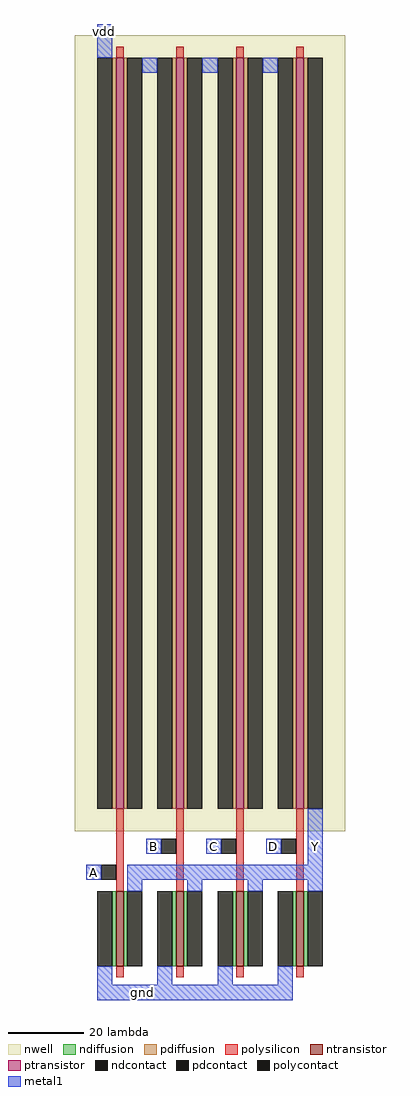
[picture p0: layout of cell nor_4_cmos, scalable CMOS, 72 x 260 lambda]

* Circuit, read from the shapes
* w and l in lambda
.subckt nor_4_cmos A B C D Y gnd vdd
M1 Y A gnd VSUBS nfet w=20 l=2
M2 Y B gnd VSUBS nfet w=20 l=2
M3 Y C gnd VSUBS nfet w=20 l=2
M4 Y D gnd VSUBS nfet w=20 l=2
M5 n1 A vdd n2 pfet w=200 l=2
M6 n3 B n1 n2 pfet w=200 l=2
M7 n4 C n3 n2 pfet w=200 l=2
M8 Y D n4 n2 pfet w=200 l=2
.ends

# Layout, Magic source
magic
tech scmos
<< nwell >>
rect -6 -6 66 206
<< ntransistor >>
rect 5 -42 7 -22
rect 21 -42 23 -22
rect 37 -42 39 -22
rect 53 -42 55 -22
<< ptransistor >>
rect 5 0 7 200
rect 21 0 23 200
rect 37 0 39 200
rect 53 0 55 200
<< ndiffusion >>
rect 4 -42 5 -22
rect 7 -42 8 -22
rect 20 -42 21 -22
rect 23 -42 24 -22
rect 36 -42 37 -22
rect 39 -42 40 -22
rect 52 -42 53 -22
rect 55 -42 56 -22
<< pdiffusion >>
rect 4 0 5 200
rect 7 0 8 200
rect 20 0 21 200
rect 23 0 24 200
rect 36 0 37 200
rect 39 0 40 200
rect 52 0 53 200
rect 55 0 56 200
<< ndcontact >>
rect 0 -42 4 -22
rect 8 -42 12 -22
rect 16 -42 20 -22
rect 24 -42 28 -22
rect 32 -42 36 -22
rect 40 -42 44 -22
rect 48 -42 52 -22
rect 56 -42 60 -22
<< pdcontact >>
rect 0 0 4 200
rect 8 0 12 200
rect 16 0 20 200
rect 24 0 28 200
rect 32 0 36 200
rect 40 0 44 200
rect 48 0 52 200
rect 56 0 60 200
<< polysilicon >>
rect 5 200 7 203
rect 21 200 23 203
rect 37 200 39 203
rect 53 200 55 203
rect 5 -22 7 0
rect 21 -22 23 0
rect 37 -22 39 0
rect 53 -22 55 0
rect 5 -45 7 -42
rect 21 -45 23 -42
rect 37 -45 39 -42
rect 53 -45 55 -42
<< polycontact >>
rect 1 -19 5 -15
rect 17 -12 21 -8
rect 33 -12 37 -8
rect 49 -12 53 -8
<< metal1 >>
rect 0 200 4 209
rect 12 196 16 200
rect 28 196 32 200
rect 44 196 48 200
rect 13 -12 17 -8
rect 29 -12 33 -8
rect 45 -12 49 -8
rect 56 -15 60 0
rect -3 -19 1 -15
rect 8 -19 60 -15
rect 8 -22 12 -19
rect 24 -22 28 -19
rect 40 -22 44 -19
rect 56 -22 60 -19
rect 0 -47 4 -42
rect 16 -47 20 -42
rect 32 -47 36 -42
rect 48 -47 52 -42
rect 0 -51 52 -47
<< labels >>
rlabel metal1 10 -51 14 -47 1 gnd
rlabel metal1 56 -12 60 -8 1 Y
rlabel metal1 -3 -19 1 -15 3 A
rlabel metal1 13 -12 17 -8 1 B
rlabel metal1 29 -12 33 -8 1 C
rlabel metal1 45 -12 49 -8 1 D
rlabel metal1 0 205 4 209 5 vdd
<< end >>
